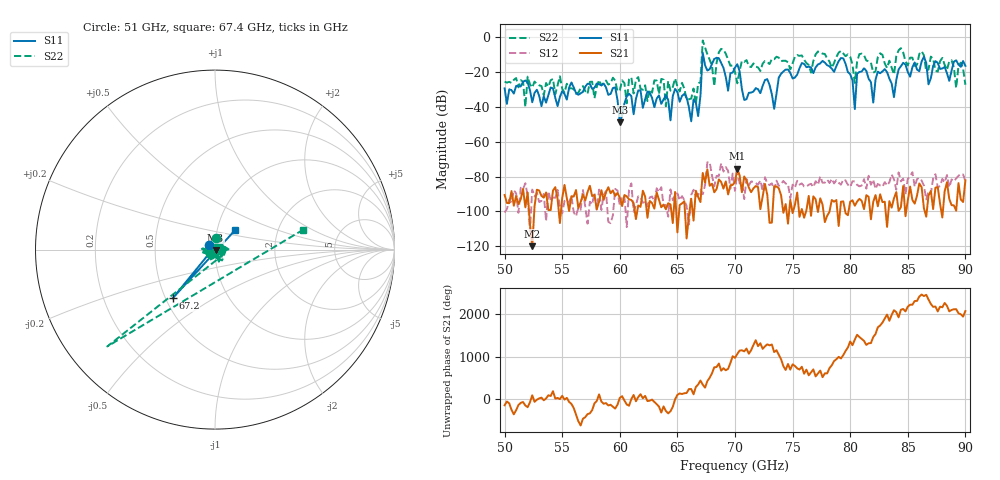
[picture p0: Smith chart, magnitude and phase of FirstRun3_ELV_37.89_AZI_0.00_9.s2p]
! 11/24/2026 3:31:25 PM
! C:\ANRITSUVNA\TEMP\TEMP.S2P
! CHANNEL.1
! TR.MEASUREMENT
! RAW.DATA
# HZ S RI R 50.0
! FREQ.HZ  S11RE  S11IM  S21RE  S21IM  S12RE  S12IM  S22RE  S22IM
!; PortSelection: Port_12
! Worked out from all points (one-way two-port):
!   201 points, 50 GHz to 90 GHz, reference 50 ohm
!   highest |S21| = -75.46 dB at 70.2 GHz (marker M1); lowest = -120.0 dB at 52.4 GHz (marker M2)
!   lowest |S11| = -48.9 dB at 60 GHz (marker M3), VSWR 1.01, Z = 50.3 - j0.158 ohm
!   |S11| at or under -10 dB: start of sweep to 67.19 GHz; 67.23 GHz to end of sweep
!   |S22| runs from -40.0 to -1.9 dB; largest |S21 - S12| = 0.00031
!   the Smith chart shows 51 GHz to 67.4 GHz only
!   S11 on the Smith chart (normalised r, x): 51 GHz: 0.94, +0.05; 67.2 GHz: 0.54, -0.34; 67.4 GHz: 1.22, +0.27
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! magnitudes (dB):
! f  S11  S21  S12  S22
! 50 GHz  -29.3  -90.6  -100.6  -25.6
! 51 GHz  -28.0  -91.2  -89.6  -23.4
! 52.4 GHz  -37.3  -120.0  -87.5  -28.9
! 56.8 GHz  -31.4  -90.3  -87.7  -28.0
! 59.6 GHz  -28.8  -91.1  -87.1  -25.0
! 60 GHz  -48.9  -92.1  -96.8  -30.5
! 63.4 GHz  -33.4  -93.4  -88.9  -32.6
! 66.8 GHz  -45.3  -91.7  -90.7  -26.5
! 67.2 GHz  -8.9  -77.9  -90.1  -1.9
! 67.4 GHz  -16.1  -83.4  -85.0  -5.9
! 68.2 GHz  -12.5  -89.0  -85.6  -28.0
! 68.8 GHz  -14.8  -83.1  -72.4  -6.7
! 70 GHz  -17.4  -83.1  -88.2  -19.9
! 70.2 GHz  -15.5  -75.5  -76.9  -26.5
! 73.4 GHz  -41.1  -85.6  -87.7  -12.6
! 74.2 GHz  -19.7  -100.8  -82.6  -13.5
! 76.8 GHz  -20.6  -91.4  -86.1  -13.6
! 79.4 GHz  -12.2  -94.3  -81.6  -9.4
! 80.4 GHz  -41.3  -96.7  -82.8  -26.2
! 80.6 GHz  -21.0  -94.4  -84.8  -14.0
! 83.4 GHz  -23.8  -94.1  -83.3  -13.5
! 90 GHz  -16.4  -82.2  -82.6  -27.3
